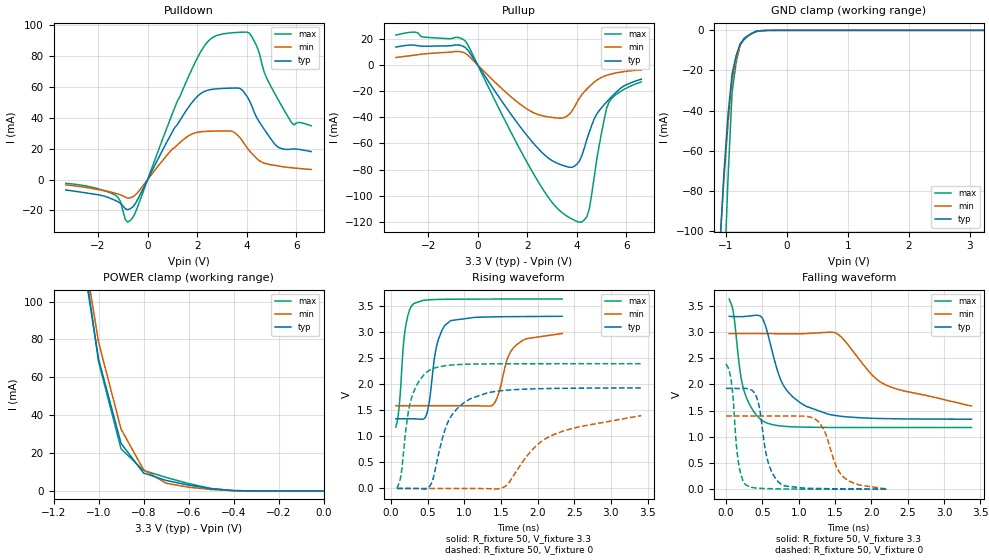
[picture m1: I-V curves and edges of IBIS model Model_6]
| [Disclaimer] Please be aware that in the absence of a written agreement,
| Texas Instruments (TI) assumes no liability for: 1) the
| accuracy of the IBIS models provided to your company, 2) the
| proper functioning of these IBIS models in your design or for
| any resulting applications, or, 3) infringement of patents,
| copyrights, or intellectual property rights resulting from
| your use of these IBIS models. TI provides IBIS models as a
| service to our customers and therefore reserves the right to
| limit distribution of the IBIS models.
| [Copyright] Property of Texas Instruments Incorporated. Unauthorised
| reproduction and/or distribution is strictly prohibited. This
| product is protected under copyright law and trade secret law
| as an unpublished work. Created 2010,(C) Copyright 2010,
| Texas Instruments Incorporated., All Rights Reserved. These
| commodities are under the U.S. Government distribution license
| control.As such,they are not to be re-exported without the
| prior approval of the U.S. Department of Commerce.
| From AM35X_ZCN_REVA.ibs, am35xxzcn, Texas Instruments.
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| Model based on original model for BC1833DV40CTPBFHP18LL_7LM
|   Sub model LL_7LM_PD_PU_OFF_3P3
[model]   Model_6
|[Description]  3.3V-I/O-PI-X
|[Input Load]   PI
|[Output Drive]
|Voltage   3.3V
|Mode   I/O
Model_type   I/O
Polarity   Non-Inverting
Enable   Active-Low
Vinl =  0.8V
Vinh =  2V
Cref =  15pF
Rref =  100.0000M
Vref =  0V
Vmeas =  1.65
C_comp   1.943144p   1.721292p   2.064363p
[Model Spec]
Vinl   0.8V   0.8V   0.8V
Vinh   2V   2V   2V
[Temperature Range]   25   125   -40
[Voltage Range]   3.3   2.97   3.63
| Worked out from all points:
|   slope of the pulldown table from 0 to 0.495 V, typ, clamps not added: 31.5 ohm
|   slope of the pullup table from 0 to 0.495 V, typ, clamps not added: 34.6 ohm
|   GND clamp passes 1 mA (typ) near -0.54 V on its own axis
|   POWER clamp passes 1 mA (typ) near -0.48 V on its own axis
|   rising waveform, R_fixture 50, V_fixture 3.3: 20-80 % time 131ps typ, 193ps min, 86.5ps max; typ from 1.33 V to 3.3 V
|   rising waveform, R_fixture 50, V_fixture 0: 20-80 % time 305ps typ, 704ps min, 173ps max; typ from 0 V to 1.93 V
|   falling waveform, R_fixture 50, V_fixture 3.3: 20-80 % time 363ps typ, 775ps min, 183ps max; typ from 3.3 V to 1.33 V
|   falling waveform, R_fixture 50, V_fixture 0: 20-80 % time 151ps typ, 233ps min, 89ps max; typ from 1.93 V to 0 V
[POWER_clamp]
-3.3V     2.432A     2.868A     2.62A
-1.067V   120.3mA    127.7mA    125.3mA
-1.033V   95.04mA    103.2mA    96.8mA
-1V       69.74mA    78.67mA    68.31mA
-900mV    25.15mA    32.72mA    22.27mA
-800mV    9.462mA    11.24mA    10.84mA
-700mV    5.548mA    4.085mA    7.139mA
-600mV    3.106mA    1.975mA    3.91mA
-500mV    1.161mA    745uA      1.301mA
-400mV    184uA      153.2uA    143uA
0V        9.359nA    44.03nA    36.65nA
[Pulldown]
-3.3V     -6.725mA   -3.434mA   -2.443mA
-1.3V     -13.53mA   -8.888mA   -10.15mA
-900mV    -18.85mA   -11.39mA   -25.88mA
-700mV    -18.89mA   -11.82mA   -26.46mA
1.9V      52.07mA    30.2mA     75.33mA
2.4V      57.75mA    31.28mA    88.86mA
3V        59.01mA    31.49mA    94.2mA
3.7V      59.19mA    27.61mA    95.39mA
4.1V      51.39mA    18.8mA     94.89mA
5.1V      23.52mA    9.29mA     56.6mA
5.8V      19.77mA    7.67mA     37.13mA
6.6V      18.13mA    6.544mA    34.86mA
[Pullup]
-3.3V     13.83mA    5.807mA    23.01mA
-2.5V     15.14mA    7.704mA    25.18mA
-500mV    13.45mA    8.979mA    18.37mA
1.4V      -39.2mA    -25.2mA    -53.56mA
2.4V      -63.13mA   -37.64mA   -88mA
3.5V      -77.24mA   -40.1mA    -114.3mA
4.1V      -73.54mA   -25.36mA   -120.3mA
4.5V      -51.37mA   -16.52mA   -110.3mA
4.9V      -34.86mA   -10.34mA   -61.5mA
5.2V      -28.21mA   -7.863mA   -32.95mA
5.3V      -26.19mA   -7.237mA   -28.18mA
6.6V      -10.79mA   -3.71mA    -12.85mA
[GND_clamp]
-3.3V     -2.048A    -1.805A    -3.667A
-1.1V     -108.6mA   -106.5mA   -191.4mA
-1.033V   -71.11mA   -74.03mA   -127.7mA
-966.7mV  -42.16mA   -46.82mA   -74.24mA
-900mV    -21.73mA   -24.87mA   -31.1mA
-833.3mV  -12.58mA   -14.46mA   -16.07mA
-766.7mV  -6.691mA   -7.462mA   -7.232mA
-700mV    -4.066mA   -3.873mA   -4.582mA
-566.7mV  -1.404mA   -1.475mA   -1.319mA
-500mV    -501.5uA   -687.7uA   -361.4uA
-300mV    -14.92uA   -26.13uA   -14.52uA
3.233V    8.845nA    14.35uA    33.57nA
[Ramp]
dV/dt_f  1.1914605/0.35985548n 0.84628647/0.76208872n  1.4766815/0.18208318n
dV/dt_r  1.1646262/0.30420103n 0.84508829/0.69694574n  1.4424913/0.17054476n
R_load = 50
[Rising Waveform]
R_fixture = 50
V_fixture = 3.3
V_fixture_min = 2.97
V_fixture_max = 3.63
67.72ps   1.335V     1.586V     1.177V
112.3ps   1.335V     1.586V     1.578V
195.5ps   1.335V     1.586V     3.061V
313ps     1.335V     1.586V     3.546V
484ps     1.413V     1.586V     3.611V
635ps     2.796V     1.586V     3.623V
814.3ps   3.217V     1.586V     3.627V
1.375ns   3.288V     1.588V     3.63V
1.676ns   3.293V     2.704V     3.63V
2.335ns   3.3V       2.97V      3.63V
[Rising Waveform]
R_fixture = 50
V_fixture = 0
V_fixture_min = 0
V_fixture_max = 0
82.09ps   8.589nV    120.9nV    4.032nV
139.9ps   -231.2nV   495.5nV    279.1mV
214.1ps   20.36uV    26.53nV    1.246V
275.8ps   -310.8uV   -99.34nV   1.715V
541.6ps   71.72mV    -51.16nV   2.277V
782.8ps   1.289V     -36.51nV   2.36V
1.085ns   1.721V     -414.9uV   2.383V
1.554ns   1.88V      37.43mV    2.389V
2.229ns   1.917V     1.039V     2.391V
3.415ns   1.928V     1.397V     2.391V
[Falling Waveform]
R_fixture = 50
V_fixture = 3.3
V_fixture_min = 2.97
V_fixture_max = 3.63
43.1ps    3.3V       2.97V      3.63V
100.6ps   3.296V     2.97V      3.37V
191.8ps   3.294V     2.97V      2.266V
246.1ps   3.296V     2.97V      1.888V
527.4ps   3.178V     2.97V      1.286V
776.9ps   2.015V     2.967V     1.203V
1.103ns   1.582V     2.971V     1.183V
1.529ns   1.401V     2.967V     1.178V
2.198ns   1.347V     1.991V     1.177V
3.376ns   1.335V     1.586V     1.177V
[Falling Waveform]
R_fixture = 50
V_fixture = 0
V_fixture_min = 0
V_fixture_max = 0
0s        1.928V     1.397V     2.391V
80.48ps   1.924V     1.397V     1.968V
174.1ps   1.923V     1.397V     478.7mV
274.7ps   1.925V     1.397V     77.72mV
426.5ps   1.732V     1.397V     20.78mV
579.4ps   514mV      1.396V     10.22mV
750.7ps   100.5mV    1.396V     4.475mV
1.245ns   13.76mV    1.319V     321.6uV
1.624ns   5.758mV    221.2mV    47.05uV
2.223ns   8.589nV    120.9nV    4.032nV
